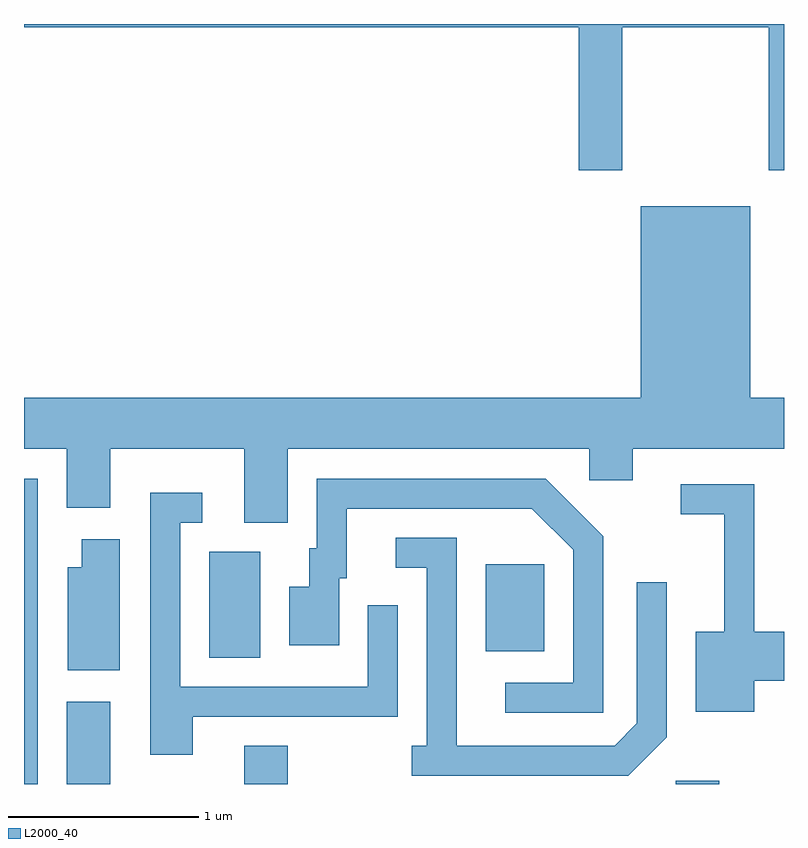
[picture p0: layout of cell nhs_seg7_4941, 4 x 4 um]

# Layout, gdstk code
import gdstk
lib = gdstk.Library(unit=1e-6, precision=1e-09)
def R(c, l, rs):  # rectangles x0, y0, x1, y1
    for r in rs: c.add(gdstk.rectangle(r[:2], r[2:], *l))
def P(c, l, *ps):  # polygons
    for p in ps: c.add(gdstk.Polygon(p, *l))
L2000_40 = (2000, 40)

nhs_seg7_4941 = lib.new_cell('nhs_seg7_4941')
R(nhs_seg7_4941, L2000_40, [(335.611,1790.252,335.684,1791.859), (335.836,1790.252,336.064,1790.684), (336.771,1790.252,336.999,1790.454), (339.041,1790.252,339.269,1790.269), (336.586,1790.916,336.854,1791.474), (338.041,1790.951,338.349,1791.409)])
P(nhs_seg7_4941, L2000_40, [(338.759,1794.236),(339.531,1794.236),(339.531,1793.481),(339.611,1793.481),(339.611,1794.252),(335.611,1794.252),(335.611,1794.236),(338.531,1794.236),(338.531,1793.481),(338.759,1793.481)],
  [(336.999,1792.016),(338.586,1792.016),(338.586,1791.851),(338.814,1791.851),(338.814,1792.016),(339.611,1792.016),(339.611,1792.284),(339.434,1792.284),(339.434,1793.294),(338.856,1793.294),(338.856,1792.284),(335.611,1792.284),(335.611,1792.016),(335.836,1792.016),(335.836,1791.706),(336.064,1791.706),(336.064,1792.016),(336.771,1792.016),(336.771,1791.626),(336.999,1791.626)],
  [(338.659,1791.557),(338.357,1791.859),(337.151,1791.859),(337.151,1791.494),(337.111,1791.494),(337.111,1791.289),(337.006,1791.289),(337.006,1790.981),(337.269,1790.981),(337.269,1791.336),(337.309,1791.336),(337.309,1791.701),(338.284,1791.701),(338.501,1791.484),(338.501,1790.784),(338.143,1790.784),(338.143,1790.626),(338.659,1790.626)],
  [(339.454,1790.796),(339.611,1790.796),(339.611,1791.054),(339.454,1791.054),(339.454,1791.829),(339.068,1791.829),(339.068,1791.671),(339.296,1791.671),(339.296,1791.054),(339.146,1791.054),(339.146,1790.631),(339.454,1790.631)],
  [(336.499,1790.606),(337.579,1790.606),(337.579,1791.193),(337.421,1791.193),(337.421,1790.764),(336.434,1790.764),(336.434,1791.626),(336.548,1791.626),(336.548,1791.784),(336.276,1791.784),(336.276,1790.406),(336.499,1790.406)],
  [(338.994,1790.499),(338.994,1791.313),(338.836,1791.313),(338.836,1790.572),(338.719,1790.454),(337.889,1790.454),(337.889,1791.549),(337.568,1791.549),(337.568,1791.391),(337.731,1791.391),(337.731,1790.454),(337.653,1790.454),(337.653,1790.296),(338.792,1790.296)],
  [(336.114,1791.539),(335.916,1791.539),(335.916,1791.394),(335.841,1791.394),(335.841,1790.851),(336.114,1790.851)])

lib.write_gds('nhs_seg7_4941.gds')
